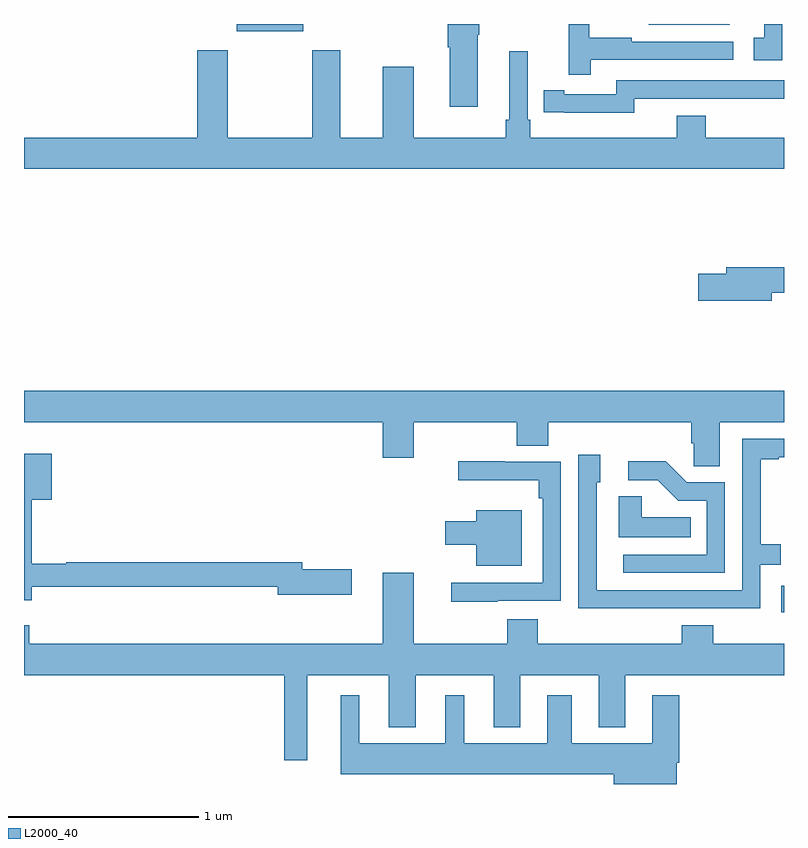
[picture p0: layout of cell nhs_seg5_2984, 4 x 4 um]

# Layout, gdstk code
import gdstk
lib = gdstk.Library(unit=1e-6, precision=1e-09)
def R(c, l, rs):  # rectangles x0, y0, x1, y1
    for r in rs: c.add(gdstk.rectangle(r[:2], r[2:], *l))
def P(c, l, *ps):  # polygons
    for p in ps: c.add(gdstk.Polygon(p, *l))
L2000_40 = (2000, 40)

nhs_seg5_2984 = lib.new_cell('nhs_seg5_2984')
R(nhs_seg5_2984, L2000_40, [(286.986,911.702,287,911.842), (284.12,914.762,284.47,914.799), (286.287,914.795,286.714,914.799)])
P(nhs_seg5_2984, L2000_40, [(285.983,914.61),(286.732,914.61),(286.732,914.706),(286.199,914.706),(286.199,914.726),(285.976,914.726),(285.976,914.799),(285.866,914.799),(285.866,914.532),(285.983,914.532)],
  [(285.388,914.743),(285.396,914.743),(285.396,914.799),(285.23,914.799),(285.23,914.676),(285.242,914.676),(285.242,914.364),(285.388,914.364)],
  [(286.992,914.799),(286.895,914.799),(286.895,914.727),(286.842,914.727),(286.842,914.607),(286.992,914.607)],
  [(287,914.2),(286.589,914.2),(286.589,914.317),(286.436,914.317),(286.436,914.2),(285.665,914.2),(285.665,914.296),(285.651,914.296),(285.651,914.656),(285.554,914.656),(285.554,914.296),(285.535,914.296),(285.535,914.2),(285.052,914.2),(285.052,914.575),(284.888,914.575),(284.888,914.2),(284.665,914.2),(284.665,914.662),(284.518,914.662),(284.518,914.2),(284.073,914.2),(284.073,914.662),(283.913,914.662),(283.913,914.2),(283,914.2),(283,914.036),(287,914.036)],
  [(286.212,914.406),(286.672,914.406),(286.672,914.405),(287,914.405),(287,914.502),(286.116,914.502),(286.116,914.43),(285.844,914.43),(285.844,914.45),(285.736,914.45),(285.736,914.334),(285.844,914.334),(285.844,914.333),(286.212,914.333)],
  [(286.936,913.384),(287,913.384),(287,913.52),(286.697,913.52),(286.697,913.484),(286.548,913.484),(286.548,913.342),(286.936,913.342)],
  [(286.663,912.704),(287,912.704),(287,912.868),(283,912.868),(283,912.704),(284.888,912.704),(284.888,912.516),(285.052,912.516),(285.052,912.704),(285.593,912.704),(285.593,912.58),(285.758,912.58),(285.758,912.704),(286.511,912.704),(286.511,912.592),(286.525,912.592),(286.525,912.472),(286.663,912.472)],
  [(286.379,911.724),(286.875,911.724),(286.875,911.952),(286.984,911.952),(286.984,912.061),(286.877,912.061),(286.877,912.507),(286.972,912.507),(286.972,912.519),(287,912.519),(287,912.615),(286.779,912.615),(286.779,911.82),(286.014,911.82),(286.014,912.387),(286.033,912.387),(286.033,912.532),(285.918,912.532),(285.918,911.723),(286.379,911.723)],
  [(283.04,911.838),(284.336,911.838),(284.336,911.795),(284.725,911.795),(284.725,911.93),(284.464,911.93),(284.464,911.966),(283.223,911.966),(283.223,911.959),(283.04,911.959),(283.04,912.296),(283.147,912.296),(283.147,912.538),(283,912.538),(283,911.765),(283.04,911.765)],
  [(285.493,911.763),(285.825,911.763),(285.825,912.495),(285.529,912.495),(285.529,912.499),(285.285,912.499),(285.285,912.398),(285.709,912.398),(285.709,912.302),(285.729,912.302),(285.729,911.859),(285.249,911.859),(285.249,911.759),(285.493,911.759)],
  [(286.689,912.387),(286.488,912.387),(286.378,912.497),(286.179,912.497),(286.179,912.399),(286.335,912.399),(286.443,912.291),(286.593,912.291),(286.593,912.006),(286.155,912.006),(286.155,911.91),(286.689,911.91)],
  [(286.508,912.202),(286.252,912.202),(286.252,912.314),(286.13,912.314),(286.13,912.098),(286.508,912.098)],
  [(285.619,912.241),(285.38,912.241),(285.38,912.181),(285.216,912.181),(285.216,912.059),(285.38,912.059),(285.38,911.948),(285.619,911.948)],
  [(284.491,911.372),(284.921,911.372),(284.921,911.099),(285.061,911.099),(285.061,911.372),(285.473,911.372),(285.473,911.099),(285.613,911.099),(285.613,911.372),(286.025,911.372),(286.025,911.099),(286.165,911.099),(286.165,911.372),(287,911.372),(287,911.536),(286.628,911.536),(286.628,911.635),(286.463,911.635),(286.463,911.536),(285.704,911.536),(285.704,911.665),(285.544,911.665),(285.544,911.536),(285.052,911.536),(285.052,911.911),(284.888,911.911),(284.888,911.536),(283.028,911.536),(283.028,911.635),(283,911.635),(283,911.372),(284.37,911.372),(284.37,910.923),(284.491,910.923)],
  [(286.435,910.91),(286.448,910.91),(286.448,911.266),(286.307,911.266),(286.307,911.014),(285.883,911.014),(285.883,911.266),(285.755,911.266),(285.755,911.014),(285.316,911.014),(285.316,911.266),(285.218,911.266),(285.218,911.014),(284.764,911.014),(284.764,911.266),(284.666,911.266),(284.666,910.85),(286.103,910.85),(286.103,910.799),(286.435,910.799)])

lib.write_gds('nhs_seg5_2984.gds')
